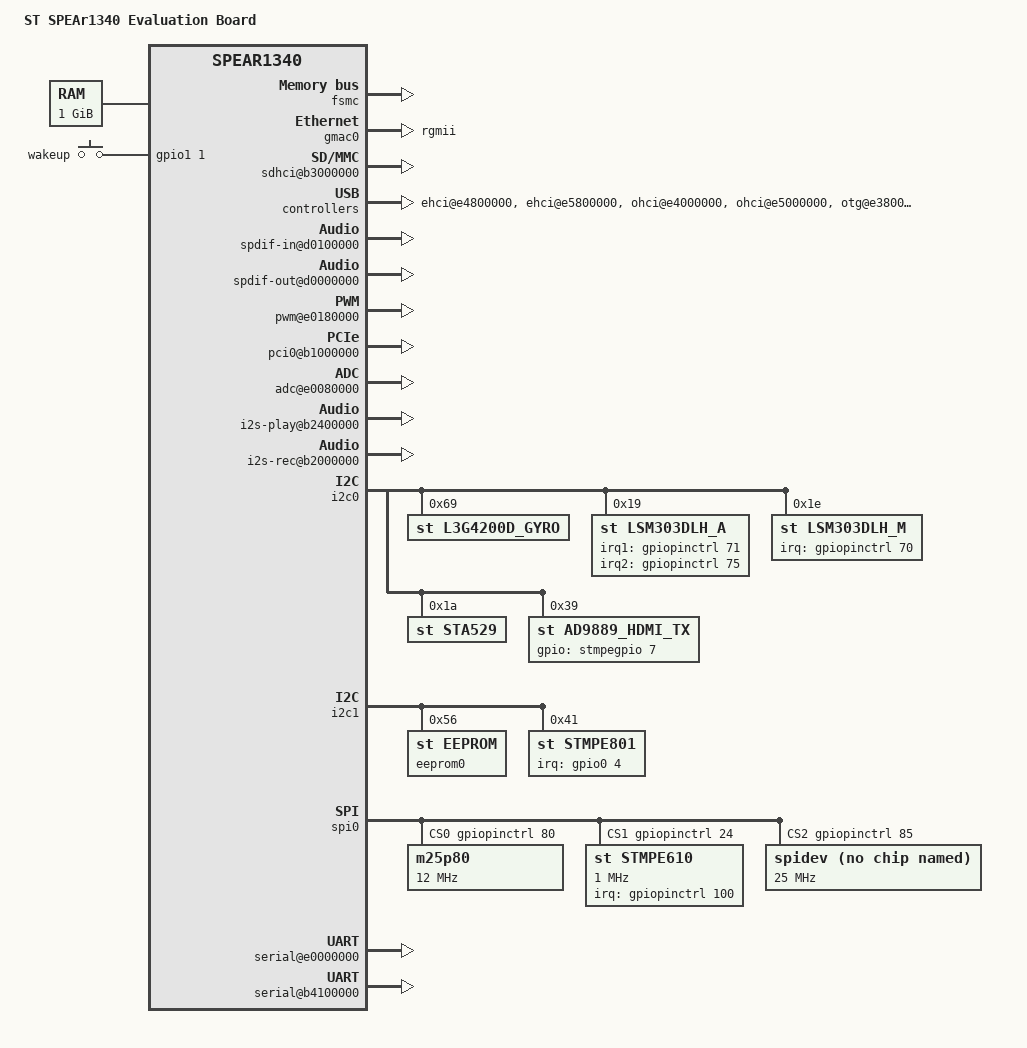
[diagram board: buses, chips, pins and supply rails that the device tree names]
/*
 * DTS file for SPEAr1340 Evaluation Baord
 *
 * Copyright 2012 Viresh Kumar <viresh.linux@gmail.com>
 *
 * The code contained herein is licensed under the GNU General Public
 * License. You may obtain a copy of the GNU General Public License
 * Version 2 or later at the following locations:
 *
 * http://www.opensource.org/licenses/gpl-license.html
 * http://www.gnu.org/copyleft/gpl.html
 */

/dts-v1/;
/include/ "spear1340.dtsi"

/ {
	model = "ST SPEAr1340 Evaluation Board";
	compatible = "st,spear1340-evb", "st,spear1340";
	#address-cells = <1>;
	#size-cells = <1>;

    cpus {
        cpu@0 {
            operating-freqs = <
                /* kHz */
                166000
                200000
                250000
                300000
                400000
                500000
                600000
            >;
           clock-latency = <250000>;
        };
    };
	memory {
		reg = <0 0x40000000>;
	};

	ahb {
		pinmux@e0700000 {
			pinctrl-names = "default";
			pinctrl-0 = <&state_default>;

			state_default: pinmux {
				pads_as_gpio {
					st,pins = "pads_as_gpio_grp";
					st,function = "pads_as_gpio";
				};
				fsmc {
					st,pins = "fsmc_8bit_grp";
					st,function = "fsmc";
				};
				uart0 {
					st,pins = "uart0_grp";
					st,function = "uart0";
				};
				i2c0 {
					st,pins = "i2c0_grp";
					st,function = "i2c0";
				};
				i2c1 {
					st,pins = "i2c1_grp";
					st,function = "i2c1";
				};
				spdif-in {
					st,pins = "spdif_in_grp";
					st,function = "spdif_in";
				};
				spdif-out {
					st,pins = "spdif_out_grp";
					st,function = "spdif_out";
				};
				ssp0 {
					st,pins = "ssp0_grp";
					st,function = "ssp0";
				};
				pwm {
					st,pins = "pwm2_grp", "pwm3_grp";
					st,function = "pwm";
				};
				smi-pmx {
					st,pins = "smi_grp";
					st,function = "smi";
				};
				i2s {
					st,pins = "i2s_in_grp", "i2s_out_grp";
					st,function = "i2s";
				};
				gmac {
					st,pins = "gmii_grp", "rgmii_grp";
					st,function = "gmac";
				};
				cam0 {
					st,pins = "cam0_grp";
					st,function = "cam0";
				};
				cam1 {
					st,pins = "cam1_grp";
					st,function = "cam1";
				};
				cam2 {
					st,pins = "cam2_grp";
					st,function = "cam2";
				};
				cam3 {
					st,pins = "cam3_grp";
					st,function = "cam3";
				};
				cec0 {
					st,pins = "cec0_grp";
					st,function = "cec0";
				};
				cec1 {
					st,pins = "cec1_grp";
					st,function = "cec1";
				};
				sdhci {
					st,pins = "sdhci_grp";
					st,function = "sdhci";
				};
				sata {
					st,pins = "sata_grp";
					st,function = "sata";
				};
				pcie {
					st,pins = "pcie_grp";
					st,function = "pcie";
				};

			};
			clcd_sleep: clcd-sleep {
				clcd-sleep {
					st,pins = "clcd_sleep_grp";
					st,function = "clcd";
				};
			};
			clcd_default: clcd-default {
				clcd-default {
					st,pins = "clcd_grp";
					st,function = "clcd";
				};
			};
		};

		dma@ea800000 {
			status = "okay";
		};

		dma@eb000000 {
			status = "okay";
		};

		fsmc: flash@b0000000 {
			status = "okay";

			partition@0 {
				label = "xloader";
				reg = <0x0 0x200000>;
			};
			partition@200000 {
				label = "u-boot";
				reg = <0x200000 0x300000>;
			};
			partition@500000 {
				label = "linux";
				reg = <0x500000 0xC00000>;
			};
			partition@1100000 {
				label = "rootfs";
				reg = <0x1100000 0x7EF00000>;
			};
		};

		gmac0: eth@e2000000 {
			phy-mode = "rgmii";
			status = "okay";
		};

		sdhci@b3000000 {
			status = "okay";
		};

		smi: flash@ea000000 {
			status = "okay";
			clock-rate=<50000000>;

			flash@e6000000 {
				#address-cells = <1>;
				#size-cells = <1>;
				reg = <0xe6000000 0x800000>;
				st,smi-fast-mode;

				partition@0 {
					label = "xloader";
					reg = <0x0 0x10000>;
				};
				partition@10000 {
					label = "u-boot";
					reg = <0x10000 0x40000>;
				};
				partition@50000 {
					label = "linux";
					reg = <0x50000 0x2c0000>;
				};
				partition@310000 {
					label = "rootfs";
					reg = <0x310000 0x4f0000>;
				};
			};
		};

		ehci@e4800000 {
			status = "okay";
		};

		spdif-in@d0100000 {
			status = "okay";
		};

		spdif-out@d0000000 {
			status = "okay";
		};

		vip@d0800000 {
			status = "okay";
		};

		mali {
			status = "okay";
		};

		gpio_keys {
			compatible = "gpio-keys";
			#address-cells = <1>;
			#size-cells = <0>;

			button@1 {
				label = "wakeup";
				linux,code = <0x100>;
				gpios = <&gpio1 1 0x4>;
				debounce-interval = <20>;
				gpio-key,wakeup = <1>;
			};
		};

		cam0@d02000000 {
			status = "okay";
		};

		cam1@d03000000 {
			status = "okay";
		};

		cam2@d04000000 {
			status = "okay";
		};

		cam3@d05000000 {
			status = "okay";
		};

		video-dec@ebc000000 {
			status = "okay";
		};

		video-enc@ebd000000 {
			status = "okay";
		};

		pwm@e0180000 {
			status = "okay";
		};

		ehci@e5800000 {
			status = "okay";
		};

		ohci@e4000000 {
			status = "okay";
		};

		ohci@e5000000 {
			status = "okay";
		};

		otg@e3800000 {
			dev_rx_fifo_size = <0x400>;
			dev_nperio_tx_fifo_size = <0x300>;
			fifo_number = <7>;
			host_rx_fifo_size = <0x400>;
			host_nperio_tx_fifo_size = <0x400>;
			host_perio_tx_fifo_size = <0x400>;
			status = "okay";
		};

		clcd@e1000000 {
			pinctrl-names = "default", "sleep";
			pinctrl-0 = <&clcd_default>;
			pinctrl-1 = <&clcd_sleep>;
			status = "okay";
			st,mode = "1024x768-32@60";
			ignore_cpufreq_notification;
		};

		pci0@b1000000 {
			status = "okay";
		};

		c3@e1800000 {
			status = "okay";
		};

		cec0@d0600000 {
			status = "okay";
		};

		cec1@d0700000 {
			status = "okay";
		};

		apb {
			adc@e0080000 {
				status = "okay";
			};

			i2s-play@b2400000 {
				status = "okay";
			};

			i2s-rec@b2000000 {
				status = "okay";
			};

			gpio0: gpio@e0600000 {
			       status = "okay";
			};

			gpio1: gpio@e0680000 {
			       status = "okay";
			};

			gpio@e2800000 {
			       status = "okay";
			};

			i2c0: i2c@e0280000 {
			       status = "okay";

				l3g4200d_gyro@69 {
				compatible = "st,l3g4200d_gyro";
				reg = <0x69>;
				poll_interval = <5>;
				min_interval = <2>;
				axis_map_x = <0>;
				axis_map_y = <1>;
				axis_map_z = <2>;
				};

				lsm303dlh_a@19 {
				compatible = "st,lsm303dlh_a";
				reg = <0x19>;
				axis_map_x = <0>;
				axis_map_y = <1>;
				axis_map_z = <2>;
				input_poll_dev = <1>;
				name_a = "lsm303dlh_a";
				irq1-gpios = <&gpiopinctrl 71 0>;
				irq2-gpios = <&gpiopinctrl 75 0>;
				};

				lsm303dlh_m@1e {
				compatible = "st,lsm303dlh_m";
				reg = <0x1e>;
				axis_map_x = <0>;
				axis_map_y = <1>;
				axis_map_z = <2>;
				name_m = "lsm303dlh_m";
				irq-gpios = <&gpiopinctrl 70 0>;
				};

				sta529@1a {
				compatible = "st,sta529";
				reg = <0x1a>;
				};

				ad9889_hdmi_tx@39 {
					compatible = "st,ad9889_hdmi_tx";
					reg = <0x39>;
					gpios = <&stmpegpio 7 0>;
					fb = <0>;
					ain = <1>;
				};
			};

			i2c1: i2c@b4000000 {
			       status = "okay";

				eeprom0@56 {
				compatible = "st,eeprom";
				reg = <0x56>;
				};

				stmpe801@41 {
					compatible = "st,stmpe801";
					#address-cells = <1>;
					#size-cells = <0>;
					reg = <0x41>;
					irq_over_gpio;
					irq-gpios = <&gpio0 4 0x4>;
					id = <0>;
					blocks = <1>;
					irq_trigger = <0x2>;

					stmpegpio: stmpe-gpio {
						compatible = "stmpe,gpio";
						reg = <0>;
						gpio-controller;
						#gpio-cells = <2>;
					};
				};
			};

			spi0: spi@e0100000 {
				status = "okay";
				num-cs = <3>;
				cs-gpios = <&gpiopinctrl 80 0>, <&gpiopinctrl 24 0>,
					   <&gpiopinctrl 85 0>;

				m25p80@0 {
					status = "okay";
					compatible = "m25p80";
					reg = <0>;
					spi-max-frequency = <12000000>;
					spi-cpol;
					spi-cpha;
					pl022,hierarchy = <0>;
					pl022,interface = <0>;
					pl022,slave-tx-disable;
					pl022,com-mode = <0x2>;
					pl022,rx-level-trig = <0>;
					pl022,tx-level-trig = <0>;
					pl022,ctrl-len = <0x11>;
					pl022,wait-state = <0>;
					pl022,duplex = <0>;
				};
				stmpe610@1 {
					status = "okay";
					compatible = "st,stmpe610";
					spi-max-frequency = <1000000>;
					spi-cpha;
					reg = <1>;
					pl022,hierarchy = <0>;
					pl022,interface = <0>;
					pl022,slave-tx-disable;
					pl022,com-mode = <0>;
					pl022,rx-level-trig = <0>;
					pl022,tx-level-trig = <0>;
					pl022,ctrl-len = <0x7>;
					pl022,wait-state = <0>;
					pl022,duplex = <0>;
					irq_over_gpio;
					irq-gpios = <&gpiopinctrl 100 0>;
					id = <0>;
					blocks = <4>;
					irq_trigger = <0x2>;
					#address-cells = <1>;
					#size-cells = <0>;

					stmpe610-ts {
						compatible = "stmpe,ts";
						reg = <0>;
						ts,sample_time = <4>;
						ts,mod_12b = <1>;
						ts,ref_sel = <0>;
						ts,adc_freq = <1>;
						ts,ave_ctrl = <1>;
						ts,touch_det_delay = <2>;
						ts,settling = <2>;
						ts,fraction_z = <7>;
						ts,i_drive = <1>;
					};
				};
				spidev@2 {
					status = "okay";
					compatible = "spidev";
					reg = <2>;
					spi-max-frequency = <25000000>;
					spi-cpha;
					pl022,hierarchy = <0>;
					pl022,interface = <0>;
					pl022,slave-tx-disable;
					pl022,com-mode = <0x2>;
					pl022,rx-level-trig = <0>;
					pl022,tx-level-trig = <0>;
					pl022,ctrl-len = <0x11>;
					pl022,wait-state = <0>;
					pl022,duplex = <0>;
				};
			};

			kbd@e0300000 {
				linux,keymap = < 0x00000001
						 0x00010002
						 0x00020003
						 0x00030004
						 0x00040005
						 0x00050006
						 0x00060007
						 0x00070008
						 0x00080009
						 0x0100000a
						 0x0101000c
						 0x0102000d
						 0x0103000e
						 0x0104000f
						 0x01050010
						 0x01060011
						 0x01070012
						 0x01080013
						 0x02000014
						 0x02010015
						 0x02020016
						 0x02030017
						 0x02040018
						 0x02050019
						 0x0206001a
						 0x0207001b
						 0x0208001c
						 0x0300001d
						 0x0301001e
						 0x0302001f
						 0x03030020
						 0x03040021
						 0x03050022
						 0x03060023
						 0x03070024
						 0x03080025
						 0x04000026
						 0x04010027
						 0x04020028
						 0x04030029
						 0x0404002a
						 0x0405002b
						 0x0406002c
						 0x0407002d
						 0x0408002e
						 0x0500002f
						 0x05010030
						 0x05020031
						 0x05030032
						 0x05040033
						 0x05050034
						 0x05060035
						 0x05070036
						 0x05080037
						 0x06000038
						 0x06010039
						 0x0602003a
						 0x0603003b
						 0x0604003c
						 0x0605003d
						 0x0606003e
						 0x0607003f
						 0x06080040
						 0x07000041
						 0x07010042
						 0x07020043
						 0x07030044
						 0x07040045
						 0x07050046
						 0x07060047
						 0x07070048
						 0x07080049
						 0x0800004a
						 0x0801004b
						 0x0802004c
						 0x0803004d
						 0x0804004e
						 0x0805004f
						 0x08060050
						 0x08070051
						 0x08080052 >;
			       autorepeat;
			       st,mode = <0>;
			       status = "okay";
			};

			rtc@e0580000 {
			       status = "okay";
			};

			serial@e0000000 {
			       status = "okay";
				pinctrl-names = "default";
				pinctrl-0 = <>;
			};

			serial@b4100000 {
			       status = "okay";
				pinctrl-names = "default";
				pinctrl-0 = <>;
			};

			timer@ec800600 {
				status = "okay";
			};

			timer@e0380000 {
				status = "okay";
			};

			wdt@ec800620 {
			       status = "okay";
			};
		};
	};
};
